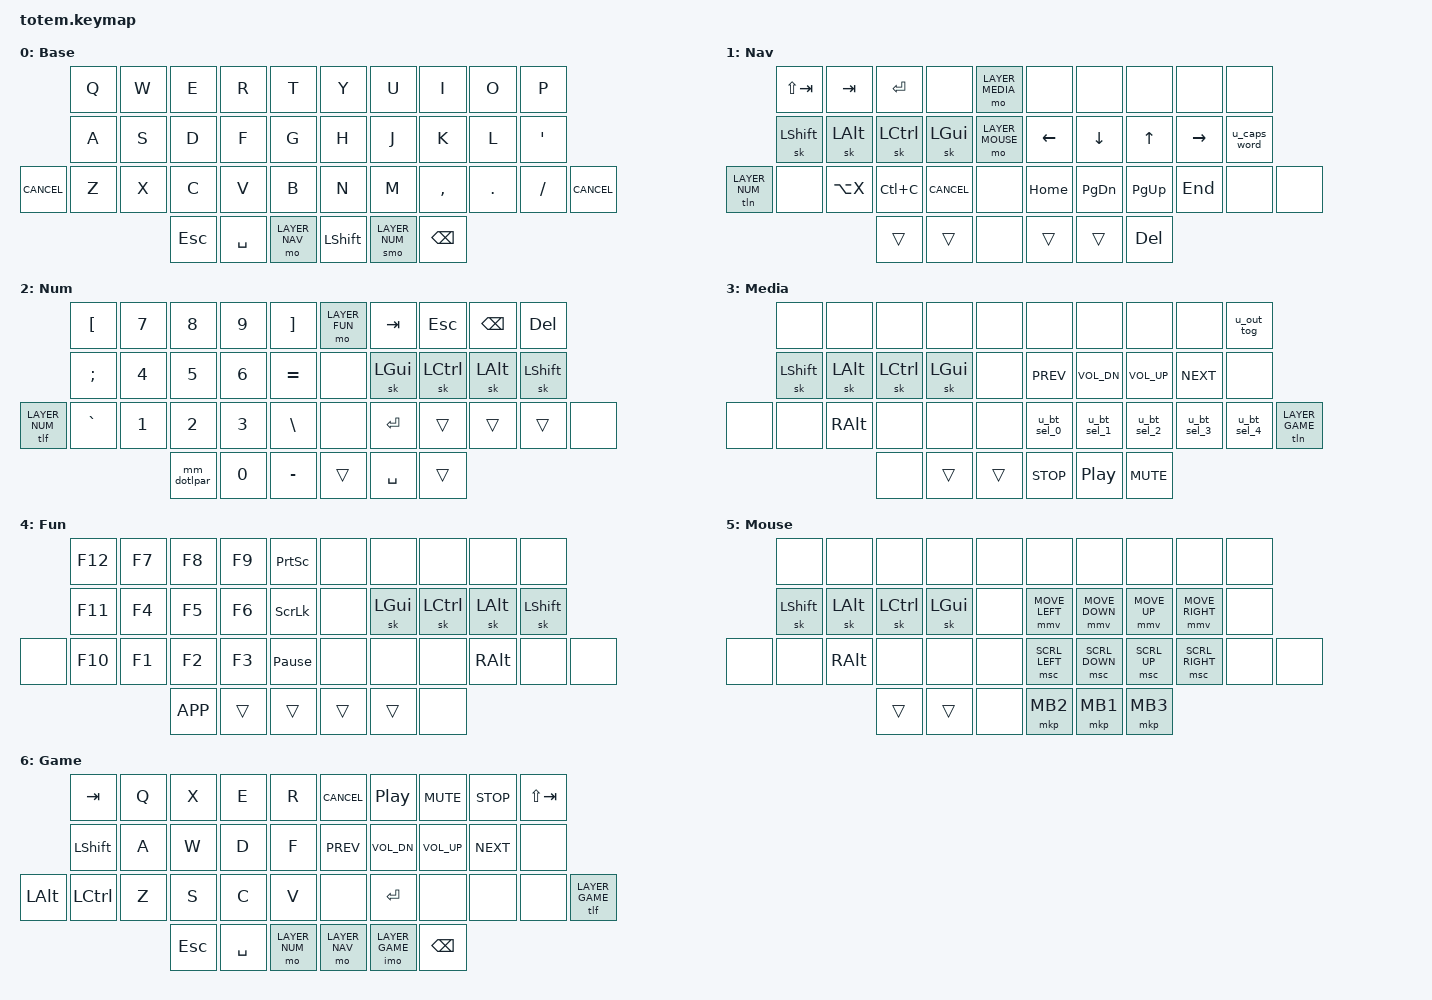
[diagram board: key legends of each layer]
#include <behaviors.dtsi>
#include <dt-bindings/zmk/keys.h>
#define ZMK_POINTING_DEFAULT_MOVE_VAL 1250
#define ZMK_POINTING_DEFAULT_SCRL_VAL 100
#include <dt-bindings/zmk/pointing.h>
#include <dt-bindings/zmk/bt.h>
#include <dt-bindings/zmk/outputs.h>

#define LAYER_BASE 0
#define LAYER_NAV 1
#define LAYER_NUM 2
#define LAYER_MEDIA 3
#define LAYER_FUN 4
#define LAYER_MOUSE 5
#define LAYER_GAME 6
&caps_word {
    continue-list = <UNDERSCORE BACKSPACE DELETE K_CANCEL>;
};

&sk {
    release-after-ms = <60000>; // tap layer key again to cancel (or wait 1 minute I guess)
    quick-release; // remove on press rather than release
};

/ {
  behaviors {
    u_bt_sel_0: u_bt_sel_0 {
      compatible = "zmk,behavior-mod-morph";
      #binding-cells = <0>;
      bindings = < &bt BT_SEL 0 >, < &bt_clr_0 >;
      mods = <(MOD_LSFT|MOD_RSFT)>;
    };
    u_bt_sel_1: u_bt_sel_1 {
      compatible = "zmk,behavior-mod-morph";
      #binding-cells = <0>;
      bindings = < &bt BT_SEL 1 >, < &bt_clr_1 >;
      mods = <(MOD_LSFT|MOD_RSFT)>;
    };
    u_bt_sel_2: u_bt_sel_2 {
      compatible = "zmk,behavior-mod-morph";
      #binding-cells = <0>;
      bindings = < &bt BT_SEL 2 >, < &bt_clr_2 >;
      mods = <(MOD_LSFT|MOD_RSFT)>;
    };
    u_bt_sel_3: u_bt_sel_3 {
      compatible = "zmk,behavior-mod-morph";
      #binding-cells = <0>;
      bindings = < &bt BT_SEL 3 >, < &bt_clr_3 >;
      mods = <(MOD_LSFT|MOD_RSFT)>;
    };
    u_bt_sel_4: u_bt_sel_4 {
      compatible = "zmk,behavior-mod-morph";
      #binding-cells = <0>;
      bindings = < &bt BT_SEL 4 >, < &bt_clr_4 >;
      mods = <(MOD_LSFT|MOD_RSFT)>;
    };
    tln: tln {
      compatible = "zmk,behavior-toggle-layer";
      #binding-cells = <1>;
      display-name = "Toggle Layer On";
      toggle-mode = "on";
    };
    tlf: tlf {
      compatible = "zmk,behavior-toggle-layer";
      #binding-cells = <1>;
      display-name = "Toggle Layer Off";
      toggle-mode = "off";
    };
    mm_dotlpar: mm_dotlpar {
      compatible = "zmk,behavior-mod-morph";
      #binding-cells = <0>;
      bindings = <&kp DOT>, <&kp LPAR>;
      mods = <(MOD_LSFT)>;
    };
    u_out_tog: u_out_tog {
      compatible = "zmk,behavior-mod-morph";
      #binding-cells = <0>;
      bindings = < &out OUT_TOG >, < &out OUT_USB >;
      mods = <(MOD_LSFT|MOD_RSFT)>;
    };
    u_caps_word: u_caps_word {
      compatible = "zmk,behavior-mod-morph";
      #binding-cells = <0>;
      bindings = < &caps_word >, <&kp CAPSLOCK>;
      mods = <(MOD_LSFT|MOD_RSFT)>;
    };
  };

  keymap {
    compatible = "zmk,keymap";

    Base {
        bindings = <
              &kp Q  &kp W  &kp E    &kp R      &kp T          &kp Y       &kp U           &kp I      &kp O    &kp P                 
              &kp A  &kp S  &kp D    &kp F      &kp G          &kp H       &kp J           &kp K      &kp L    &kp SQT               
&kp K_CANCEL  &kp Z  &kp X  &kp C    &kp V      &kp B          &kp N       &kp M           &kp COMMA  &kp DOT  &kp FSLH  &kp K_CANCEL
                            &kp ESC  &kp SPACE  &mo LAYER_NAV  &kp LSHIFT  &smo LAYER_NUM  &kp BSPC                                  
        >;    
    };

    Nav {
        bindings = <
                &kp LS(TAB)  &kp TAB       &kp ENTER  &none         &mo LAYER_MEDIA  &none     &none      &none       &none      &none              
                &sk LSHIFT   &sk LEFT_ALT  &sk LCTRL  &sk LGUI      &mo LAYER_MOUSE  &kp LEFT  &kp DOWN   &kp UP      &kp RIGHT  &u_caps_word       
&tln LAYER_NUM  &none        &kp LA(X)     &kp LC(C)  &kp K_CANCEL  &none            &kp HOME  &kp PG_DN  &kp PG_UP   &kp END    &none         &none
                                           &trans     &trans        &none            &trans    &trans     &kp DELETE                                
        >;    
    };

    Num {
        bindings = <
                &kp LEFT_BRACKET  &kp NUMBER_7  &kp NUMBER_8  &kp NUMBER_9  &kp RIGHT_BRACKET  &mo LAYER_FUN  &kp TAB    &kp ESC    &kp BSPC      &kp DEL          
                &kp SEMICOLON     &kp NUMBER_4  &kp NUMBER_5  &kp NUMBER_6  &kp EQUAL          &none          &sk LGUI   &sk LCTRL  &sk LEFT_ALT  &sk LSHIFT       
&tlf LAYER_NUM  &kp GRAVE         &kp NUMBER_1  &kp NUMBER_2  &kp NUMBER_3  &kp BACKSLASH      &none          &kp ENTER  &trans     &trans        &trans      &none
                                                &mm_dotlpar   &kp NUMBER_0  &kp MINUS          &trans         &kp SPACE  &trans                                    
        >;    
    };

    Media {
        bindings = <
       &none       &none     &none      &none     &none   &none        &none         &none         &none        &u_out_tog                  
       &sk LSHIFT  &sk LALT  &sk LCTRL  &sk LGUI  &none   &kp C_PREV   &kp C_VOL_DN  &kp C_VOL_UP  &kp C_NEXT   &none                       
&none  &none       &kp RALT  &none      &none     &none   &u_bt_sel_0  &u_bt_sel_1   &u_bt_sel_2   &u_bt_sel_3  &u_bt_sel_4  &tln LAYER_GAME
                             &none      &trans    &trans  &kp C_STOP   &kp C_PP      &kp C_MUTE                                             
        >;    
    };

    Fun {
        bindings = <
       &kp F12  &kp F7  &kp F8     &kp F9  &kp PSCRN        &none   &none     &none      &none     &none            
       &kp F11  &kp F4  &kp F5     &kp F6  &kp SLCK         &none   &sk LGUI  &sk LCTRL  &sk LALT  &sk LSHIFT       
&none  &kp F10  &kp F1  &kp F2     &kp F3  &kp PAUSE_BREAK  &none   &none     &none      &kp RALT  &none       &none
                        &kp K_APP  &trans  &trans           &trans  &trans    &none                                 
        >;    
    };

    Mouse {
        bindings = <
       &none       &none     &none      &none     &none  &none           &none           &none         &none            &none       
       &sk LSHIFT  &sk LALT  &sk LCTRL  &sk LGUI  &none  &mmv MOVE_LEFT  &mmv MOVE_DOWN  &mmv MOVE_UP  &mmv MOVE_RIGHT  &none       
&none  &none       &kp RALT  &none      &none     &none  &msc SCRL_LEFT  &msc SCRL_DOWN  &msc SCRL_UP  &msc SCRL_RIGHT  &none  &none
                             &trans     &trans    &none  &mkp MB2        &mkp MB1        &mkp MB3                                   
        >;    
    };

    Game {
        bindings = <
          &kp TAB     &kp Q  &kp X    &kp E      &kp R          &kp K_CANCEL   &kp C_PP         &kp C_MUTE     &kp C_STOP  &kp LS(TAB)                 
          &kp LSHIFT  &kp A  &kp W    &kp D      &kp F          &kp C_PREV     &kp C_VOL_DN     &kp C_VOL_UP   &kp C_NEXT  &none                       
&kp LALT  &kp LCTRL   &kp Z  &kp S    &kp C      &kp V          &none          &kp ENTER        &none          &none       &none        &tlf LAYER_GAME
                             &kp ESC  &kp SPACE  &mo LAYER_NUM  &mo LAYER_NAV  &imo LAYER_GAME  &kp BACKSPACE                                          
        >;    
    };
  };

  macros {
  smo: smo {
      compatible = "zmk,behavior-macro-one-param";
      #binding-cells = <1>;
      wait-ms = <0>;
      tap-ms = <0>;
      bindings
        = <&macro_tap &kp K_CANCEL>
        , <&macro_param_1to1>
        , <&macro_press &mo MACRO_PLACEHOLDER>
        , <&macro_pause_for_release>
        , <&macro_param_1to1>
        , <&macro_release &mo MACRO_PLACEHOLDER>
        ;
  };
  imo: imo {
      compatible = "zmk,behavior-macro-one-param";
      #binding-cells = <1>;
      wait-ms = <0>;
      tap-ms = <0>;
      bindings
        = <&macro_param_1to1>
        , <&tlf MACRO_PLACEHOLDER>
        , <&macro_pause_for_release>
        , <&macro_param_1to1>
        , <&tln MACRO_PLACEHOLDER>
        ;
  };
  bt_clr_0: bt_clr_0 {
      compatible = "zmk,behavior-macro";
      #binding-cells = <0>;
      wait-ms = <0>;
      bindings = < &bt BT_SEL 0 &bt BT_CLR >;
    };
  bt_clr_1: bt_clr_1 {
      compatible = "zmk,behavior-macro";
      #binding-cells = <0>;
      wait-ms = <0>;
      bindings = < &bt BT_SEL 1 &bt BT_CLR >;
    };
  bt_clr_2: bt_clr_2 {
      compatible = "zmk,behavior-macro";
      #binding-cells = <0>;
      wait-ms = <0>;
      bindings = < &bt BT_SEL 2 &bt BT_CLR >;
    };
  bt_clr_3: bt_clr_3 {
      compatible = "zmk,behavior-macro";
      #binding-cells = <0>;
      wait-ms = <0>;
      bindings = < &bt BT_SEL 3 &bt BT_CLR >;
    };
  bt_clr_4: bt_clr_4 {
      compatible = "zmk,behavior-macro";
      #binding-cells = <0>;
      wait-ms = <0>;
      bindings = < &bt BT_SEL 4 &bt BT_CLR >;
    };
  };

};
